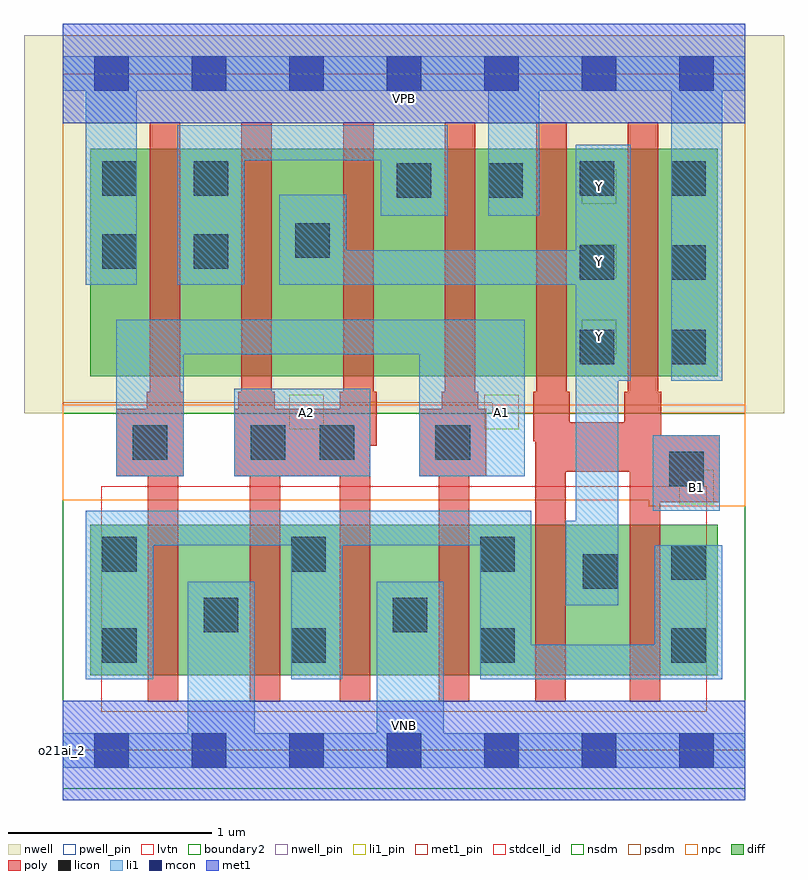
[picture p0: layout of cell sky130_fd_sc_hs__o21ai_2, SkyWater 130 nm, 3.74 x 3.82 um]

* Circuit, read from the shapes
.subckt sky130_fd_sc_hs__o21ai_2 A1 A2 B1 VGND VNB VPB VPWR Y
XM1 VGND A1 n1 VNB sky130_fd_pr__nfet_01v8_lvt w=0.74 l=0.15 m=2
XM2 n1 A2 VGND VNB sky130_fd_pr__nfet_01v8_lvt w=0.74 l=0.15 m=2
XM3 Y B1 n1 VNB sky130_fd_pr__nfet_01v8_lvt w=0.74 l=0.15 m=2
XM4 n2 A1 VPWR VPB sky130_fd_pr__pfet_01v8 w=1.12 l=0.15 m=2
XM5 Y A2 n2 VPB sky130_fd_pr__pfet_01v8 w=1.12 l=0.15 m=2
XM6 Y B1 VPWR VPB sky130_fd_pr__pfet_01v8 w=1.12 l=0.15 m=2
.ends

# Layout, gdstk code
import gdstk
lib = gdstk.Library(unit=1e-6, precision=1e-09)
def R(c, l, rs):  # rectangles x0, y0, x1, y1
    for r in rs: c.add(gdstk.rectangle(r[:2], r[2:], *l))
def A(c, l, x, y, w, h, nx, ny, dx, dy):  # array of equal rectangles
    R(c, l, [(x+i*dx, y+j*dy, x+i*dx+w, y+j*dy+h) for i in range(nx) for j in range(ny)])
def P(c, l, *ps):  # polygons
    for p in ps: c.add(gdstk.Polygon(p, *l))
nwell_pin = (64, 16)
nwell = (64, 20)
diff = (65, 20)
poly = (66, 20)
licon = (66, 44)
li1_pin = (67, 16)
li1 = (67, 20)
mcon = (67, 44)
met1_pin = (68, 16)
met1 = (68, 20)
stdcell_id = (81, 4)
nsdm = (93, 44)
psdm = (94, 20)
npc = (95, 20)
pwell_pin = (122, 16)
lvtn = (125, 44)
boundary2 = (236, 0)

sky130_fd_sc_hs__o21ai_2 = lib.new_cell('sky130_fd_sc_hs__o21ai_2')
R(sky130_fd_sc_hs__o21ai_2, nwell_pin, [(0,3.085,3.36,3.33)])
R(sky130_fd_sc_hs__o21ai_2, nwell, [(-0.19,1.66,3.55,3.52)])
R(sky130_fd_sc_hs__o21ai_2, diff, [(0.135,0.37,3.225,1.11), (0.135,1.84,3.225,2.96)])
P(sky130_fd_sc_hs__o21ai_2, poly, [(1.545,1.765),(1.53,1.765),(1.53,3.09),(1.38,3.09),(1.38,1.765),(1.365,1.765),(1.365,1.68),(1.045,1.68),(1.045,1.765),(1.03,1.765),(1.03,3.09),(0.88,3.09),(0.88,1.765),(0.865,1.765),(0.865,1.68),(0.845,1.68),(0.845,1.35),(0.92,1.35),(0.92,0.24),(1.07,0.24),(1.07,1.35),(1.365,1.35),(1.365,0.24),(1.515,0.24),(1.515,1.5),(1.545,1.5)],
  [(0.595,1.765),(0.58,1.765),(0.58,3.09),(0.43,3.09),(0.43,1.765),(0.415,1.765),(0.415,1.68),(0.265,1.68),(0.265,1.35),(0.42,1.35),(0.42,0.24),(0.57,0.24),(0.57,1.35),(0.595,1.35)],
  [(2.085,1.68),(2.045,1.68),(2.045,1.765),(2.03,1.765),(2.03,3.09),(1.88,3.09),(1.88,1.765),(1.865,1.765),(1.865,1.68),(1.755,1.68),(1.755,1.35),(1.85,1.35),(1.85,0.24),(2,0.24),(2,1.35),(2.085,1.35)],
  [(3.235,1.55),(2.945,1.55),(2.945,1.765),(2.93,1.765),(2.93,3.09),(2.78,3.09),(2.78,1.765),(2.765,1.765),(2.765,1.615),(2.495,1.615),(2.495,1.765),(2.48,1.765),(2.48,3.09),(2.33,3.09),(2.33,1.765),(2.315,1.765),(2.315,1.52),(2.325,1.52),(2.325,0.24),(2.475,0.24),(2.475,1.37),(2.79,1.37),(2.79,0.24),(2.94,0.24),(2.94,1.22),(3.235,1.22)])
A(sky130_fd_sc_hs__o21ai_2, licon, 0.195, 0.43, 0.17, 0.17, 3, 2, 0.93, 0.45)
A(sky130_fd_sc_hs__o21ai_2, licon, 2.545, 1.9, 0.17, 0.17, 1, 3, 0, 0.415)
A(sky130_fd_sc_hs__o21ai_2, licon, 2.995, 1.9, 0.17, 0.17, 1, 3, 0, 0.415)
R(sky130_fd_sc_hs__o21ai_2, licon, [(2.995,0.43,3.165,0.6), (0.695,0.58,0.865,0.75), (1.625,0.58,1.795,0.75), (2.56,0.795,2.73,0.965), (2.995,0.84,3.165,1.01), (2.985,1.3,3.155,1.47), (0.345,1.43,0.515,1.6), (0.925,1.43,1.095,1.6), (1.265,1.43,1.435,1.6), (1.835,1.43,2.005,1.6), (0.195,2.37,0.365,2.54), (0.645,2.37,0.815,2.54), (1.145,2.425,1.315,2.595), (1.645,2.72,1.815,2.89), (2.095,2.72,2.265,2.89), (0.195,2.73,0.365,2.9), (0.645,2.73,0.815,2.9)])
A(sky130_fd_sc_hs__o21ai_2, li1_pin, 2.555, 1.95, 0.17, 0.17, 1, 3, 0, 0.37)
R(sky130_fd_sc_hs__o21ai_2, li1_pin, [(3.035,1.21,3.205,1.38), (1.115,1.58,1.285,1.75), (2.075,1.58,2.245,1.75)])
R(sky130_fd_sc_hs__o21ai_2, li1, [(2.905,1.18,3.235,1.55), (0.845,1.35,1.515,1.78)])
P(sky130_fd_sc_hs__o21ai_2, li1, [(0,-0.085),(0,0.085),(0.615,0.085),(0.615,0.83),(0.945,0.83),(0.945,0.085),(1.545,0.085),(1.545,0.83),(1.875,0.83),(1.875,0.085),(3.36,0.085),(3.36,-0.085)],
  [(0,3.245),(0,3.415),(3.36,3.415),(3.36,3.245),(3.245,3.245),(3.245,1.82),(2.995,1.82),(2.995,3.245),(2.345,3.245),(2.345,2.63),(2.095,2.63),(2.095,3.245),(0.365,3.245),(0.365,2.29),(0.115,2.29),(0.115,3.245)],
  [(1.755,1.35),(1.755,1.95),(0.595,1.95),(0.595,1.35),(0.265,1.35),(0.265,2.12),(2.275,2.12),(2.275,1.35)],
  [(1.395,2.46),(2.525,2.46),(2.525,2.98),(2.795,2.98),(2.795,1.82),(2.735,1.82),(2.735,0.715),(2.475,0.715),(2.475,1.13),(2.525,1.13),(2.525,2.29),(1.065,2.29),(1.065,2.735),(1.395,2.735)],
  [(1.125,0.35),(1.125,1.01),(0.445,1.01),(0.445,0.35),(0.115,0.35),(0.115,1.18),(2.305,1.18),(2.305,0.52),(2.915,0.52),(2.915,1.01),(3.245,1.01),(3.245,0.35),(2.055,0.35),(2.055,1.01),(1.375,1.01),(1.375,0.35)],
  [(1.565,2.63),(1.565,2.905),(0.895,2.905),(0.895,2.29),(0.565,2.29),(0.565,3.075),(1.895,3.075),(1.895,2.63)])
A(sky130_fd_sc_hs__o21ai_2, mcon, 0.155, -0.085, 0.17, 0.17, 7, 2, 0.48, 3.33)
R(sky130_fd_sc_hs__o21ai_2, met1_pin, [(0,0,3.36,0.245), (0,3.085,3.36,3.33)])
R(sky130_fd_sc_hs__o21ai_2, met1, [(0,-0.245,3.36,0.245), (0,3.085,3.36,3.575)])
R(sky130_fd_sc_hs__o21ai_2, stdcell_id, [(0,0,3.36,3.33)])
R(sky130_fd_sc_hs__o21ai_2, nsdm, [(0,-0.19,3.36,1.66)])
P(sky130_fd_sc_hs__o21ai_2, psdm, [(3.36,3.52),(0,3.52),(0,1.71),(2.115,1.71),(2.115,1.66),(3.36,1.66)])
P(sky130_fd_sc_hs__o21ai_2, npc, [(3.36,1.7),(0,1.7),(0,1.23),(2.885,1.23),(2.885,1.2),(3.36,1.2)])
R(sky130_fd_sc_hs__o21ai_2, pwell_pin, [(0,0,3.36,0.245)])
R(sky130_fd_sc_hs__o21ai_2, lvtn, [(0.19,0.19,3.17,1.3)])
R(sky130_fd_sc_hs__o21ai_2, boundary2, [(0,0,3.36,3.33)])
sky130_fd_sc_hs__o21ai_2.add(gdstk.Label('o21ai_2', (0,0), layer=83, texttype=44))
sky130_fd_sc_hs__o21ai_2.add(gdstk.Label('VNB', (1.68,0.123), layer=64, texttype=59))
sky130_fd_sc_hs__o21ai_2.add(gdstk.Label('VPB', (1.68,3.208), layer=64, texttype=5))
sky130_fd_sc_hs__o21ai_2.add(gdstk.Label('VPWR', (1.68,3.208), layer=68, texttype=5))
sky130_fd_sc_hs__o21ai_2.add(gdstk.Label('VGND', (1.68,0.123), layer=68, texttype=5))
sky130_fd_sc_hs__o21ai_2.add(gdstk.Label('B1', (3.12,1.295), layer=67, texttype=5))
sky130_fd_sc_hs__o21ai_2.add(gdstk.Label('A2', (1.2,1.665), layer=67, texttype=5))
sky130_fd_sc_hs__o21ai_2.add(gdstk.Label('A1', (2.16,1.665), layer=67, texttype=5))
sky130_fd_sc_hs__o21ai_2.add(gdstk.Label('Y', (2.64,2.035), layer=67, texttype=5))
sky130_fd_sc_hs__o21ai_2.add(gdstk.Label('Y', (2.64,2.405), layer=67, texttype=5))
sky130_fd_sc_hs__o21ai_2.add(gdstk.Label('Y', (2.64,2.775), layer=67, texttype=5))

lib.write_gds('sky130_fd_sc_hs__o21ai_2.gds')
